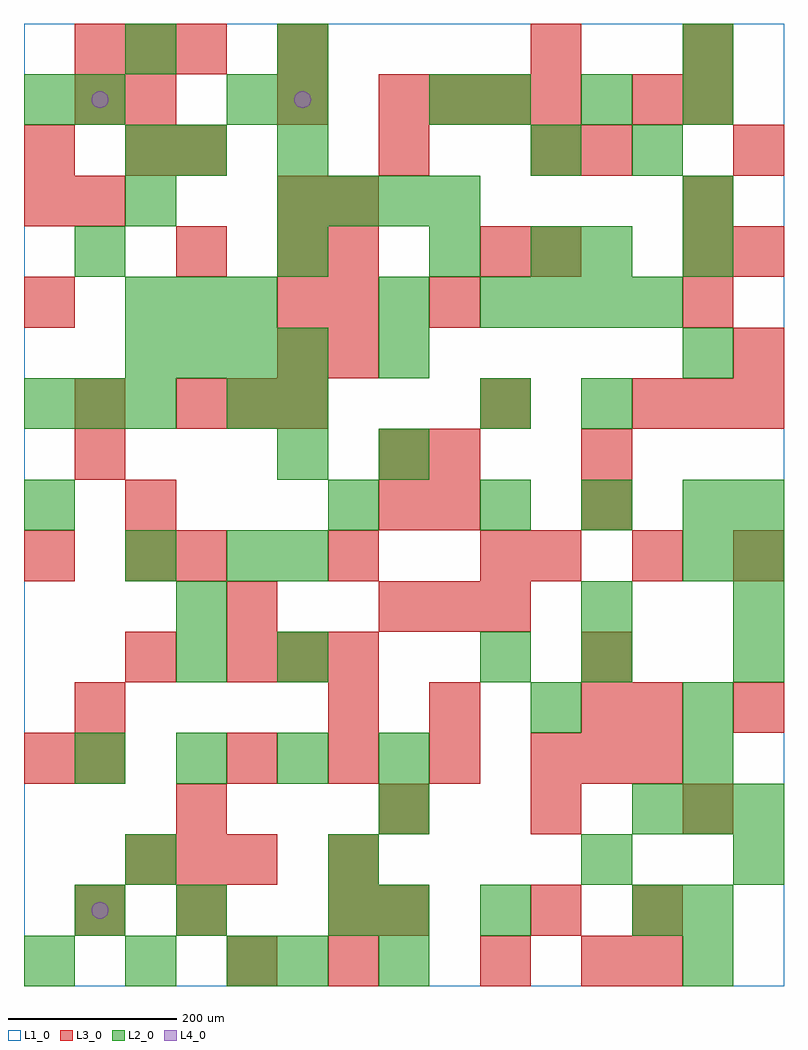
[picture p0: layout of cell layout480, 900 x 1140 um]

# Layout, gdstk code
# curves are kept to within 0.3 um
import gdstk
lib = gdstk.Library(unit=1e-6, precision=1e-09)
def R(c, l, rs):  # rectangles x0, y0, x1, y1
    for r in rs: c.add(gdstk.rectangle(r[:2], r[2:], *l))
def A(c, l, x, y, w, h, nx, ny, dx, dy):  # array of equal rectangles
    R(c, l, [(x+i*dx, y+j*dy, x+i*dx+w, y+j*dy+h) for i in range(nx) for j in range(ny)])
def P(c, l, *ps):  # polygons
    for p in ps: c.add(gdstk.Polygon(p, *l))
L1_0 = (1, 0)
L2_0 = (2, 0)
L3_0 = (3, 0)
L4_0 = (4, 0)

layout480 = lib.new_cell('layout480')
R(layout480, L1_0, [(0,0,900,1140)])
A(layout480, L2_0, 0, 0, 60, 60, 3, 1, 120, 0)
A(layout480, L2_0, 540, 60, 60, 60, 1, 3, 0, 300)
A(layout480, L2_0, 720, 180, 60, 60, 3, 1, 60, 0)
A(layout480, L2_0, 60, 240, 60, 60, 4, 1, 120, 0)
A(layout480, L2_0, 300, 360, 60, 60, 1, 3, 0, 120)
A(layout480, L2_0, 840, 360, 60, 60, 1, 4, 0, 60)
A(layout480, L2_0, 540, 540, 60, 60, 3, 2, 120, 480)
A(layout480, L2_0, 0, 660, 60, 60, 3, 1, 60, 0)
A(layout480, L2_0, 120, 720, 60, 60, 4, 1, 60, 0)
A(layout480, L2_0, 120, 780, 60, 60, 3, 1, 60, 0)
A(layout480, L2_0, 540, 780, 60, 60, 4, 1, 60, 0)
A(layout480, L2_0, 300, 900, 60, 60, 4, 1, 60, 0)
A(layout480, L2_0, 300, 960, 60, 60, 1, 3, 0, 60)
R(layout480, L2_0, [(300,0,360,60), (420,0,480,60), (780,0,840,60), (60,60,120,120), (180,60,240,120), (360,60,420,120), (420,60,480,120), (720,60,780,120), (780,60,840,120), (120,120,180,180), (360,120,420,180), (660,120,720,180), (840,120,900,180), (420,180,480,240), (780,240,840,300), (600,300,660,360), (780,300,840,360), (180,360,240,420), (660,360,720,420), (180,420,240,480), (660,420,720,480), (120,480,180,540), (240,480,300,540), (780,480,840,540), (0,540,60,600), (360,540,420,600), (420,600,480,660), (240,660,300,720), (300,660,360,720), (660,660,720,720), (420,720,480,780), (780,720,840,780), (420,780,480,840), (60,840,120,900), (300,840,360,900), (480,840,540,900), (600,840,660,900), (660,840,720,900), (780,840,840,900), (120,900,180,960), (780,900,840,960), (120,960,180,1020), (180,960,240,1020), (600,960,660,1020), (720,960,780,1020), (0,1020,60,1080), (60,1020,120,1080), (240,1020,300,1080), (480,1020,540,1080), (120,1080,180,1140), (780,1080,840,1140)])
A(layout480, L3_0, 360, 0, 60, 60, 1, 3, 0, 60)
A(layout480, L3_0, 120, 120, 60, 60, 3, 1, 60, 0)
A(layout480, L3_0, 420, 180, 60, 60, 3, 1, 180, 0)
A(layout480, L3_0, 240, 240, 60, 60, 4, 1, 120, 0)
A(layout480, L3_0, 660, 240, 60, 60, 1, 3, 0, 60)
A(layout480, L3_0, 240, 360, 60, 60, 3, 1, 60, 0)
A(layout480, L3_0, 420, 420, 60, 60, 3, 1, 60, 0)
A(layout480, L3_0, 180, 480, 60, 60, 3, 1, 180, 0)
A(layout480, L3_0, 600, 480, 60, 60, 3, 1, 120, 0)
A(layout480, L3_0, 180, 660, 60, 60, 3, 1, 60, 0)
A(layout480, L3_0, 720, 660, 60, 60, 3, 1, 60, 0)
A(layout480, L3_0, 300, 720, 60, 60, 1, 4, 0, 60)
A(layout480, L3_0, 360, 720, 60, 60, 1, 4, 0, 60)
A(layout480, L3_0, 840, 720, 60, 60, 1, 3, 0, 120)
A(layout480, L3_0, 780, 780, 60, 60, 1, 3, 0, 60)
A(layout480, L3_0, 600, 840, 60, 60, 1, 3, 0, 120)
A(layout480, L3_0, 420, 1020, 60, 60, 4, 1, 60, 0)
A(layout480, L3_0, 60, 1080, 60, 60, 3, 1, 60, 0)
R(layout480, L3_0, [(240,0,300,60), (540,0,600,60), (660,0,720,60), (720,0,780,60), (60,60,120,120), (180,60,240,120), (420,60,480,120), (600,60,660,120), (720,60,780,120), (180,180,240,240), (0,240,60,300), (60,240,120,300), (720,240,780,300), (60,300,120,360), (360,300,420,360), (480,300,540,360), (720,300,780,360), (840,300,900,360), (120,360,180,420), (240,420,300,480), (0,480,60,540), (120,480,180,540), (120,540,180,600), (420,540,480,600), (480,540,540,600), (660,540,720,600), (60,600,120,660), (420,600,480,660), (480,600,540,660), (660,600,720,660), (60,660,120,720), (540,660,600,720), (0,780,60,840), (480,780,540,840), (180,840,240,900), (540,840,600,900), (0,900,60,960), (60,900,120,960), (0,960,60,1020), (120,960,180,1020), (180,960,240,1020), (420,960,480,1020), (660,960,720,1020), (60,1020,120,1080), (120,1020,180,1080), (300,1020,360,1080), (720,1020,780,1080), (780,1020,840,1080), (300,1080,360,1140), (780,1080,840,1140)])
P(layout480, L4_0, [(100,90),(99.239,93.827),(97.071,97.071),(93.827,99.239),(90,100),(86.173,99.239),(82.929,97.071),(80.761,93.827),(80,90),(80.761,86.173),(82.929,82.929),(86.173,80.761),(90,80),(93.827,80.761),(97.071,82.929),(99.239,86.173)],
  [(100,1050),(99.239,1053.827),(97.071,1057.071),(93.827,1059.239),(90,1060),(86.173,1059.239),(82.929,1057.071),(80.761,1053.827),(80,1050),(80.761,1046.173),(82.929,1042.929),(86.173,1040.761),(90,1040),(93.827,1040.761),(97.071,1042.929),(99.239,1046.173)],
  [(340,1050),(339.239,1053.827),(337.071,1057.071),(333.827,1059.239),(330,1060),(326.173,1059.239),(322.929,1057.071),(320.761,1053.827),(320,1050),(320.761,1046.173),(322.929,1042.929),(326.173,1040.761),(330,1040),(333.827,1040.761),(337.071,1042.929),(339.239,1046.173)])

lib.write_gds('layout480.gds')
